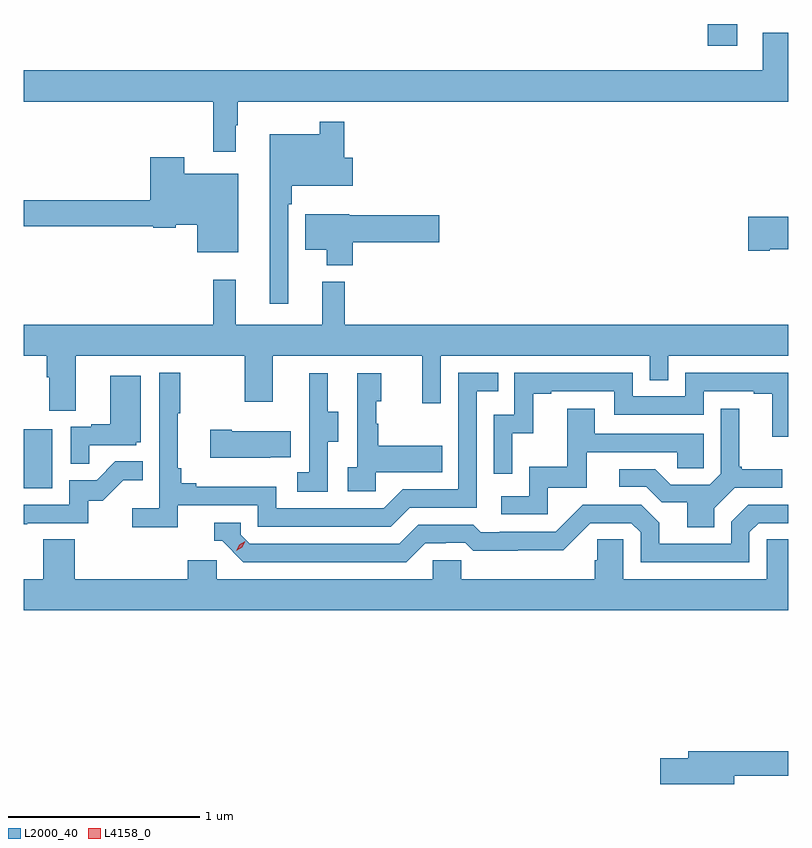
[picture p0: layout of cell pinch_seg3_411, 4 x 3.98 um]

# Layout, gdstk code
import gdstk
lib = gdstk.Library(unit=1e-6, precision=1e-09)
def R(c, l, rs):  # rectangles x0, y0, x1, y1
    for r in rs: c.add(gdstk.rectangle(r[:2], r[2:], *l))
def P(c, l, *ps):  # polygons
    for p in ps: c.add(gdstk.Polygon(p, *l))
L2000_40 = (2000, 40)
L4158_0 = (4158, 0)

pinch_seg3_411 = lib.new_cell('pinch_seg3_411')
R(pinch_seg3_411, L2000_40, [(950.106,704.22,950.254,704.527), (953.687,706.536,953.839,706.65)])
P(pinch_seg3_411, L2000_40, [(951.214,706.121),(951.226,706.121),(951.226,706.244),(954.106,706.244),(954.106,706.603),(953.975,706.603),(953.975,706.408),(950.106,706.408),(950.106,706.244),(951.097,706.244),(951.097,705.981),(951.214,705.981)],
  [(951.489,705.707),(951.509,705.707),(951.509,705.803),(951.826,705.803),(951.826,705.951),(951.782,705.951),(951.782,706.138),(951.654,706.138),(951.654,706.072),(951.392,706.072),(951.392,705.186),(951.489,705.186)],
  [(951.229,705.865),(950.946,705.865),(950.946,705.952),(950.768,705.952),(950.768,705.728),(950.106,705.728),(950.106,705.592),(950.784,705.592),(950.784,705.584),(950.901,705.584),(950.901,705.599),(951.014,705.599),(951.014,705.455),(951.229,705.455)],
  [(951.827,705.508),(952.279,705.508),(952.279,705.65),(951.81,705.65),(951.81,705.655),(951.578,705.655),(951.578,705.467),(951.692,705.467),(951.692,705.386),(951.827,705.386)],
  [(954.01,705.47),(954.106,705.47),(954.106,705.641),(953.898,705.641),(953.898,705.463),(954.01,705.463)],
  [(950.377,704.912),(951.262,704.912),(951.262,704.673),(951.409,704.673),(951.409,704.912),(952.19,704.912),(952.19,704.664),(952.287,704.664),(952.287,704.912),(953.382,704.912),(953.382,704.785),(953.478,704.785),(953.478,704.912),(954.106,704.912),(954.106,705.076),(951.785,705.076),(951.785,705.301),(951.668,705.301),(951.668,705.076),(951.215,705.076),(951.215,705.31),(951.097,705.31),(951.097,705.076),(950.106,705.076),(950.106,704.912),(950.225,704.912),(950.225,704.8),(950.237,704.8),(950.237,704.626),(950.377,704.626)],
  [(950.912,704.13),(951.33,704.13),(951.33,704.019),(952.027,704.019),(952.126,704.118),(952.476,704.118),(952.476,704.727),(952.589,704.727),(952.589,704.823),(952.38,704.823),(952.38,704.214),(952.089,704.214),(951.99,704.115),(951.426,704.115),(951.426,704.227),(951.007,704.227),(951.007,704.246),(950.93,704.246),(950.93,704.323),(950.911,704.323),(950.911,704.611),(950.923,704.611),(950.923,704.824),(950.814,704.824),(950.814,704.116),(950.673,704.116),(950.673,704.014),(950.912,704.014)],
  [(952.662,704.507),(952.772,704.507),(952.772,704.715),(952.867,704.715),(952.867,704.727),(953.196,704.727),(953.196,704.604),(953.664,704.604),(953.664,704.727),(953.927,704.727),(953.927,704.715),(954.023,704.715),(954.023,704.489),(954.106,704.489),(954.106,704.823),(953.568,704.823),(953.568,704.7),(953.292,704.7),(953.292,704.823),(952.674,704.823),(952.674,704.604),(952.566,704.604),(952.566,704.295),(952.662,704.295)],
  [(951.948,704.303),(952.295,704.303),(952.295,704.443),(951.961,704.443),(951.961,704.558),(951.951,704.558),(951.951,704.676),(951.976,704.676),(951.976,704.821),(951.852,704.821),(951.852,704.33),(951.801,704.33),(951.801,704.205),(951.948,704.205)],
  [(951.696,704.464),(951.751,704.464),(951.751,704.619),(951.697,704.619),(951.697,704.821),(951.599,704.821),(951.599,704.607),(951.6,704.607),(951.6,704.303),(951.537,704.303),(951.537,704.2),(951.696,704.2)],
  [(950.447,704.445),(950.694,704.445),(950.694,704.46),(950.716,704.46),(950.716,704.809),(950.558,704.809),(950.558,704.554),(950.459,704.554),(950.459,704.541),(950.352,704.541),(950.352,704.347),(950.447,704.347)],
  [(953.719,704.116),(953.826,704.223),(954.076,704.223),(954.076,704.32),(953.863,704.32),(953.863,704.332),(953.851,704.332),(953.851,704.635),(953.754,704.635),(953.754,704.295),(953.697,704.238),(953.491,704.238),(953.41,704.319),(953.223,704.319),(953.223,704.226),(953.364,704.226),(953.444,704.146),(953.579,704.146),(953.579,704.014),(953.719,704.014)],
  [(952.848,704.223),(953.053,704.223),(953.053,704.409),(953.527,704.409),(953.527,704.325),(953.664,704.325),(953.664,704.505),(953.095,704.505),(953.095,704.635),(952.951,704.635),(952.951,704.332),(952.752,704.332),(952.752,704.178),(952.605,704.178),(952.605,704.082),(952.848,704.082)],
  [(951.395,704.381),(951.503,704.381),(951.503,704.518),(951.193,704.518),(951.193,704.526),(951.081,704.526),(951.081,704.378),(951.395,704.378)],
  [(950.123,704.037),(950.442,704.037),(950.442,704.154),(950.518,704.154),(950.625,704.261),(950.729,704.261),(950.729,704.36),(950.585,704.36),(950.487,704.262),(950.343,704.262),(950.343,704.133),(950.106,704.133),(950.106,704.032),(950.123,704.032)],
  [(952.207,703.932),(952.314,703.932),(952.314,703.935),(952.417,703.935),(952.459,703.893),(952.692,703.893),(952.692,703.895),(952.928,703.895),(953.07,704.037),(953.286,704.037),(953.334,703.989),(953.334,703.833),(953.904,703.833),(953.904,703.989),(953.952,704.037),(954.106,704.037),(954.106,704.133),(953.898,704.133),(953.808,704.043),(953.808,703.929),(953.431,703.929),(953.431,704.039),(953.337,704.133),(953.031,704.133),(952.89,703.992),(952.597,703.992),(952.597,703.989),(952.498,703.989),(952.459,704.028),(952.17,704.028),(952.071,703.929),(951.288,703.929),(951.24,703.977),(951.24,704.04),(951.101,704.04),(951.101,703.944),(951.144,703.944),(951.255,703.833),(952.108,703.833)],
  [(954.106,703.952),(953.994,703.952),(953.994,703.744),(953.244,703.744),(953.244,703.952),(953.107,703.952),(953.107,703.842),(953.093,703.842),(953.093,703.744),(952.395,703.744),(952.395,703.842),(952.245,703.842),(952.245,703.744),(951.114,703.744),(951.114,703.842),(950.963,703.842),(950.963,703.744),(950.372,703.744),(950.372,703.952),(950.207,703.952),(950.207,703.744),(950.106,703.744),(950.106,703.58),(954.106,703.58)],
  [(953.824,702.714),(954.106,702.714),(954.106,702.842),(953.585,702.842),(953.585,702.806),(953.436,702.806),(953.436,702.671),(953.824,702.671)])
P(pinch_seg3_411, L4158_0, [(951.217,703.891),(951.217,703.891),(951.233,703.923),(951.264,703.943),(951.264,703.943),(951.264,703.942),(951.248,703.91),(951.218,703.891)])

lib.write_gds('pinch_seg3_411.gds')
